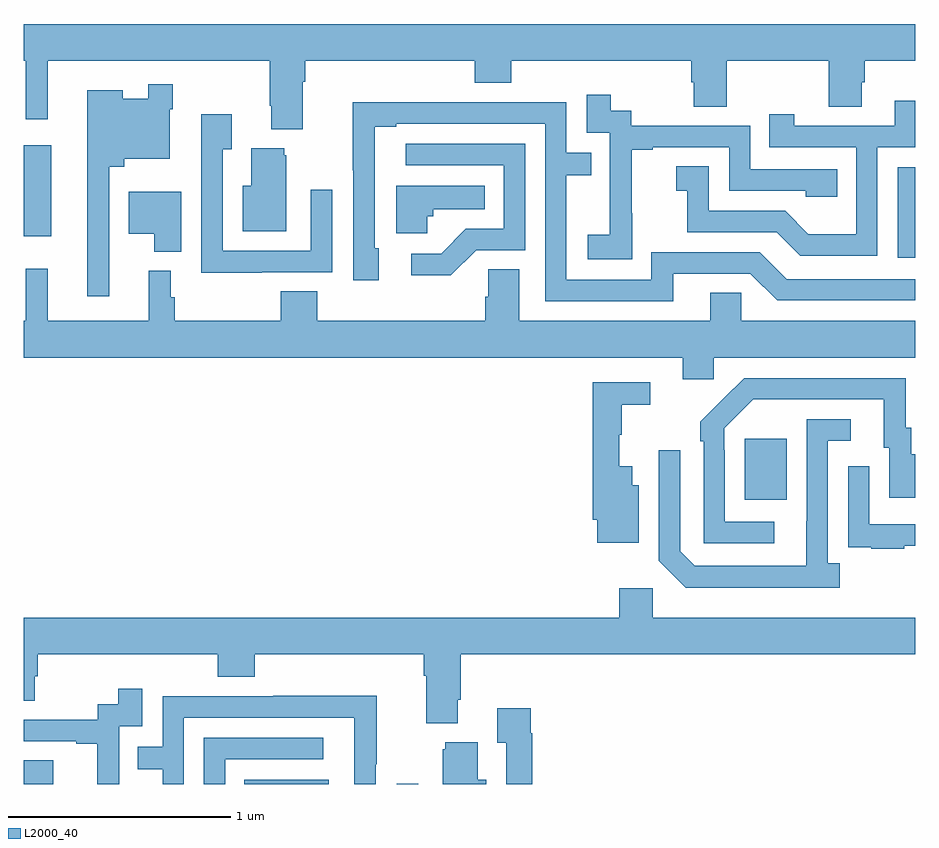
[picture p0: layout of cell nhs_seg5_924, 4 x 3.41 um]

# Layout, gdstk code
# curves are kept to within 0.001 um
import gdstk
lib = gdstk.Library(unit=1e-6, precision=1e-09)
def R(c, l, rs):  # rectangles x0, y0, x1, y1
    for r in rs: c.add(gdstk.rectangle(r[:2], r[2:], *l))
def P(c, l, *ps):  # polygons
    for p in ps: c.add(gdstk.Polygon(p, *l))
L2000_40 = (2000, 40)

nhs_seg5_924 = lib.new_cell('nhs_seg5_924')
R(nhs_seg5_924, L2000_40, [(169,902.799,169.132,902.905), (169.99,902.799,170.368,902.818), (170.673,902.799,170.769,902.8), (172.235,904.073,172.423,904.348), (172.92,905.16,173,905.565), (169,905.255,169.123,905.665)])
P(nhs_seg5_924, L2000_40, [(169,906.044),(169.009,906.044),(169.009,905.781),(169.108,905.781),(169.108,906.044),(170.104,906.044),(170.104,905.842),(170.111,905.842),(170.111,905.735),(170.251,905.735),(170.251,905.948),(170.264,905.948),(170.264,906.044),(171.023,906.044),(171.023,905.945),(171.188,905.945),(171.188,906.044),(171.995,906.044),(171.995,905.946),(172.007,905.946),(172.007,905.836),(172.155,905.836),(172.155,906.044),(172.612,906.044),(172.612,905.836),(172.759,905.836),(172.759,905.946),(172.772,905.946),(172.772,906.044),(173,906.044),(173,906.208),(169,906.208)],
  [(169.383,905.567),(169.452,905.567),(169.452,905.603),(169.656,905.603),(169.656,905.825),(169.669,905.825),(169.669,905.938),(169.56,905.938),(169.56,905.872),(169.444,905.872),(169.444,905.911),(169.286,905.911),(169.286,904.986),(169.383,904.986)],
  [(171.729,905.359),(171.728,905.359),(171.728,905.643),(171.823,905.643),(171.823,905.655),(172.164,905.655),(172.164,905.46),(172.509,905.46),(172.509,905.433),(172.649,905.433),(172.649,905.556),(172.26,905.556),(172.26,905.751),(171.726,905.751),(171.726,905.82),(171.634,905.82),(171.634,905.89),(171.525,905.89),(171.525,905.721),(171.63,905.721),(171.63,905.492),(171.629,905.492),(171.629,905.263),(171.531,905.263),(171.531,905.153),(171.729,905.153)],
  [(172.83,905.655),(173,905.655),(173,905.863),(172.907,905.863),(172.907,905.751),(172.456,905.751),(172.456,905.803),(172.345,905.803),(172.345,905.655),(172.734,905.655),(172.734,905.266),(172.52,905.266),(172.416,905.37),(172.074,905.37),(172.074,905.569),(171.927,905.569),(171.927,905.459),(171.976,905.459),(171.976,905.274),(172.379,905.274),(172.484,905.169),(172.83,905.169)],
  [(171.913,905.088),(172.26,905.088),(172.38,904.968),(173,904.968),(173,905.064),(172.422,905.064),(172.302,905.184),(171.816,905.184),(171.816,905.061),(171.435,905.061),(171.435,905.53),(171.545,905.53),(171.545,905.631),(171.435,905.631),(171.435,905.856),(170.939,905.856),(170.939,905.858),(170.476,905.858),(170.476,905.551),(170.478,905.551),(170.478,905.058),(170.593,905.058),(170.593,905.202),(170.574,905.202),(170.574,905.748),(170.671,905.748),(170.671,905.76),(171.339,905.76),(171.339,904.965),(171.913,904.965)],
  [(170.069,905.094),(170.385,905.094),(170.385,905.464),(170.289,905.464),(170.289,905.19),(169.893,905.19),(169.893,905.647),(169.933,905.647),(169.933,905.803),(169.796,905.803),(169.796,905.558),(169.797,905.558),(169.797,905.093),(170.069,905.093)],
  [(171.03,905.193),(171.249,905.193),(171.249,905.67),(170.715,905.67),(170.715,905.574),(171.153,905.574),(171.153,905.289),(170.984,905.289),(170.873,905.178),(170.739,905.178),(170.739,905.081),(170.917,905.081)],
  [(170.179,905.619),(170.168,905.619),(170.168,905.65),(170.021,905.65),(170.021,905.482),(169.982,905.482),(169.982,905.279),(170.179,905.279)],
  [(170.811,905.346),(170.838,905.346),(170.838,905.378),(171.068,905.378),(171.068,905.482),(170.672,905.482),(170.672,905.27),(170.811,905.27)],
  [(169.708,905.455),(169.472,905.455),(169.472,905.267),(169.586,905.267),(169.586,905.186),(169.708,905.186)],
  [(172.095,904.712),(173,904.712),(173,904.876),(172.218,904.876),(172.218,905.003),(172.079,905.003),(172.079,904.876),(171.223,904.876),(171.223,905.108),(171.084,905.108),(171.084,904.985),(171.071,904.985),(171.071,904.876),(170.318,904.876),(170.318,905.009),(170.153,905.009),(170.153,904.876),(169.679,904.876),(169.679,904.983),(169.66,904.983),(169.66,905.101),(169.562,905.101),(169.562,904.876),(169.109,904.876),(169.109,905.11),(169.009,905.11),(169.009,904.876),(169,904.876),(169,904.712),(171.956,904.712),(171.956,904.614),(172.095,904.614)],
  [(172.366,903.975),(172.146,903.975),(172.146,904.295),(172.143,904.295),(172.143,904.395),(172.272,904.524),(172.859,904.524),(172.859,904.308),(172.883,904.308),(172.883,904.083),(173,904.083),(173,904.279),(172.981,904.279),(172.981,904.398),(172.956,904.398),(172.956,904.62),(172.232,904.62),(172.035,904.425),(172.035,904.337),(172.05,904.337),(172.05,903.879),(172.366,903.879)],
  [(171.76,904.138),(171.73,904.138),(171.73,904.225),(171.671,904.225),(171.671,904.365),(171.682,904.365),(171.682,904.501),(171.811,904.501),(171.811,904.602),(171.553,904.602),(171.553,903.985),(171.572,903.985),(171.572,903.881),(171.76,903.881)],
  [(172.66,903.79),(172.608,903.79),(172.608,904.338),(172.711,904.338),(172.711,904.434),(172.512,904.434),(172.511,903.777),(172.011,903.777),(171.945,903.843),(171.945,904.297),(171.849,904.297),(171.849,903.801),(171.97,903.68),(172.66,903.68)],
  [(172.949,903.867),(173,903.867),(173,903.963),(172.794,903.963),(172.794,904.225),(172.698,904.225),(172.698,903.97),(172.699,903.97),(172.699,903.861),(172.801,903.861),(172.801,903.855),(172.949,903.855)],
  [(170.947,903.178),(170.96,903.178),(170.96,903.38),(173,903.38),(173,903.544),(171.822,903.544),(171.822,903.676),(171.671,903.676),(171.671,903.544),(169,903.544),(169,903.172),(169.051,903.172),(169.051,903.282),(169.064,903.282),(169.064,903.38),(169.871,903.38),(169.871,903.281),(170.036,903.281),(170.036,903.38),(170.795,903.38),(170.795,903.284),(170.807,903.284),(170.807,903.071),(170.947,903.071)],
  [(169.43,902.828),(169.428,902.828),(169.428,903.057),(169.533,903.057),(169.533,903.226),(169.425,903.226),(169.425,903.156),(169.332,903.156),(169.332,903.087),(169,903.087),(169,902.991),(169.235,902.991),(169.235,902.979),(169.331,902.979),(169.331,902.799),(169.43,902.799)],
  [(169.719,903.096),(170.484,903.096),(170.484,902.799),(170.58,902.799),(170.58,902.887),(170.583,902.887),(170.583,903.194),(170.119,903.194),(170.119,903.192),(169.623,903.192),(169.623,902.967),(169.513,902.967),(169.513,902.866),(169.623,902.866),(169.623,902.799),(169.719,902.799)],
  [(171.281,903.026),(171.274,903.026),(171.274,903.139),(171.125,903.139),(171.125,902.983),(171.165,902.983),(171.165,902.799),(171.281,902.799)],
  [(169.905,902.91),(170.344,902.91),(170.344,903.006),(169.809,903.006),(169.809,902.799),(169.905,902.799)],
  [(171.076,902.818),(171.037,902.818),(171.037,902.986),(170.891,902.986),(170.891,902.955),(170.879,902.955),(170.879,902.799),(171.076,902.799)])

lib.write_gds('nhs_seg5_924.gds')
